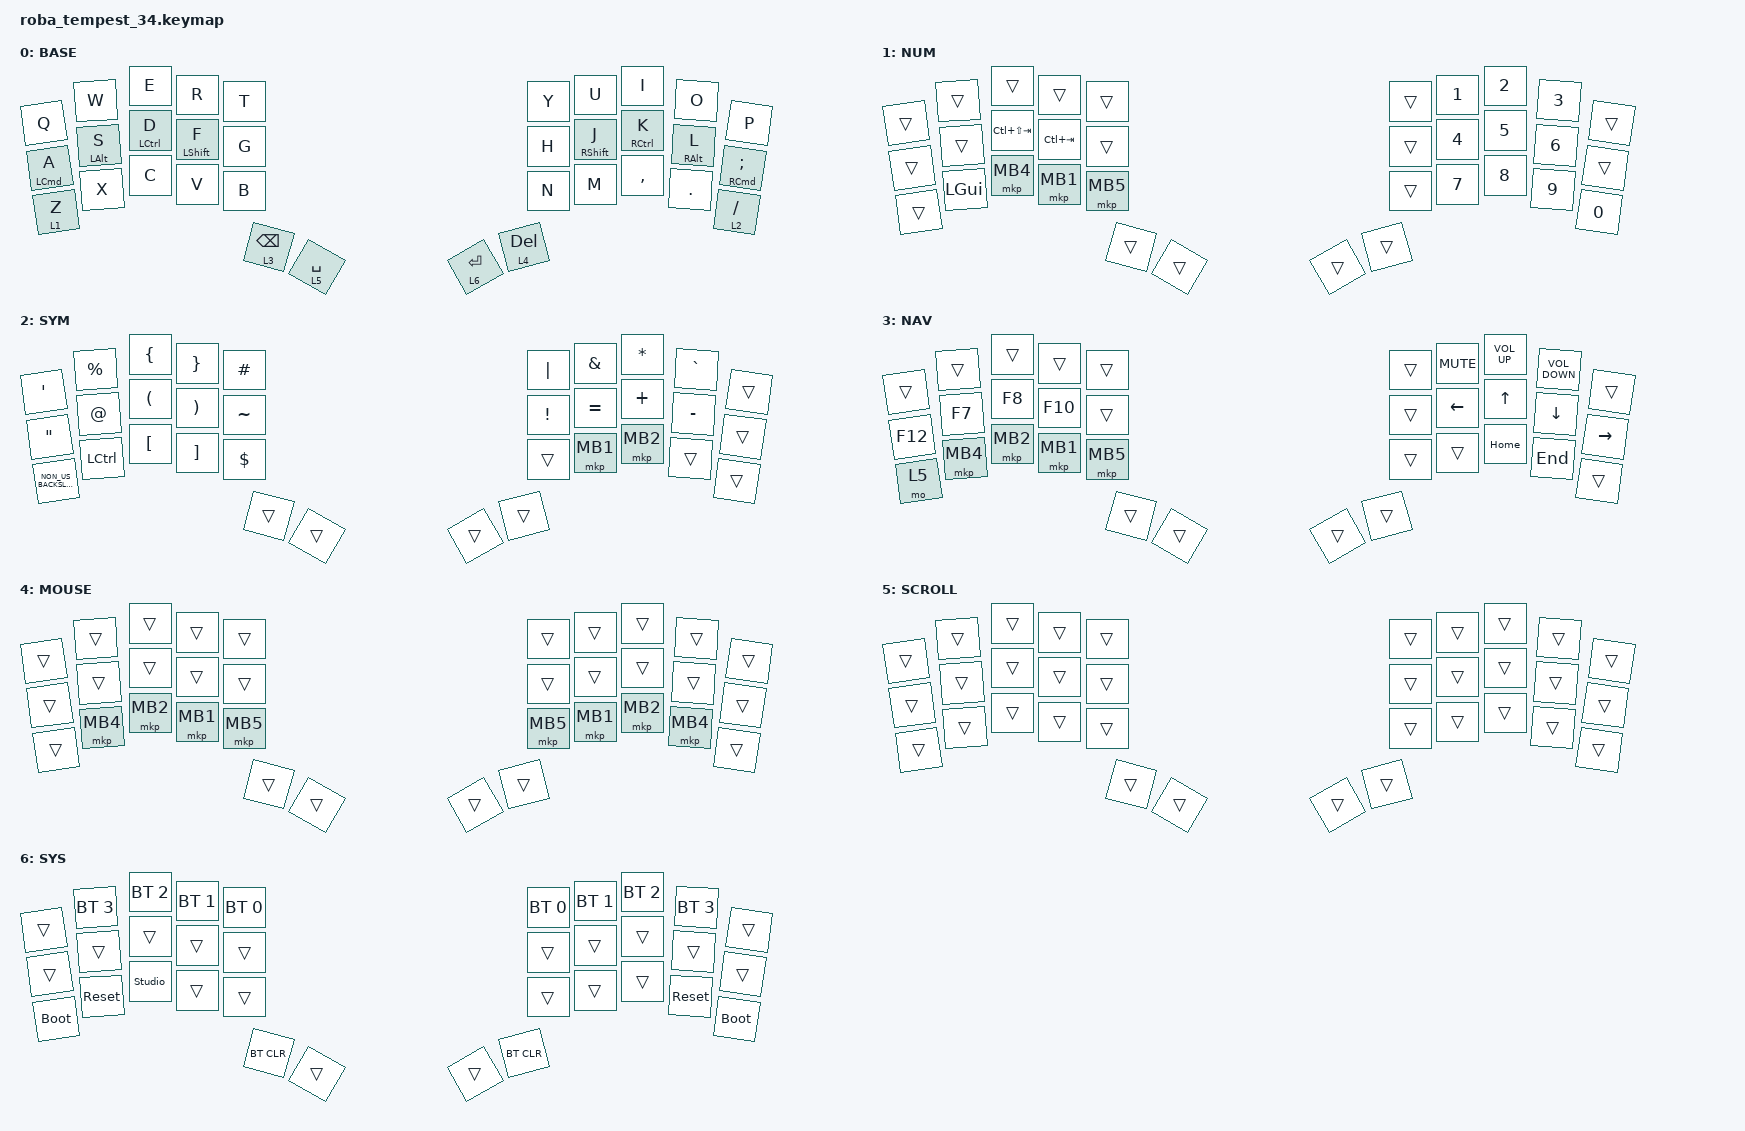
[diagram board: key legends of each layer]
// 34-key adaptation. Original roBa keymap is retained separately as roBa.keymap.
#include <behaviors.dtsi>
#include <dt-bindings/zmk/bt.h>
#include <dt-bindings/zmk/keys.h>
#include <dt-bindings/zmk/pointing.h>
#define KEYS_L 0 1 2 3 4 10 11 12 13 14 20 21 22 23 24
#define KEYS_R 5 6 7 8 9 15 16 17 18 19 25 26 27 28 29
#define THUMBS 30 31 32 33
/ {
    behaviors {
        ht_left: left_homerow {
            compatible = "zmk,behavior-hold-tap";
            #binding-cells = <2>;
            flavor = "tap-preferred";
            tapping-term-ms = <200>;
            quick-tap-ms = <160>;
            require-prior-idle-ms = <150>;
            bindings = <&kp>, <&kp>;
            hold-trigger-key-positions = <KEYS_R THUMBS>;
            hold-trigger-on-release;
        };
        ht_right: right_homerow {
            compatible = "zmk,behavior-hold-tap";
            #binding-cells = <2>;
            flavor = "tap-preferred";
            tapping-term-ms = <200>;
            quick-tap-ms = <160>;
            require-prior-idle-ms = <150>;
            bindings = <&kp>, <&kp>;
            hold-trigger-key-positions = <KEYS_L THUMBS>;
            hold-trigger-on-release;
        };
    };
    combos {
        compatible = "zmk,combos";
        tab { bindings = <&kp TAB>; key-positions = <11 12>; };
        shift_tab { bindings = <&kp LS(TAB)>; key-positions = <12 13>; };
        esc { bindings = <&kp ESC>; key-positions = <6 7>; timeout-ms = <50>; };
    };
    keymap {
        compatible = "zmk,keymap";
        BASE {
            bindings = <
                &kp Q  &kp W  &kp E  &kp R  &kp T  &kp Y  &kp U  &kp I  &kp O  &kp P
                &ht_left LCMD A  &ht_left LEFT_ALT S  &ht_left LCTRL D  &ht_left LSHFT F  &kp G  &kp H  &ht_right RSHFT J  &ht_right RCTRL K  &ht_right RALT L  &ht_right RCMD SEMICOLON
                &lt 1 Z  &kp X  &kp C  &kp V  &kp B  &kp N  &kp M  &kp COMMA  &kp DOT  &lt 2 SLASH
                &lt 3 BACKSPACE  &lt 5 SPACE  &lt 6 ENTER  &lt 4 DELETE
            >;
        };
        NUM {
            bindings = <
                &trans  &trans  &trans  &trans  &trans  &trans  &kp N1  &kp N2  &kp N3  &trans
                &trans  &trans  &kp LC(LS(TAB))  &kp LC(TAB)  &trans  &trans  &kp N4  &kp N5  &kp N6  &trans
                &trans  &kp LGUI  &mkp MB4  &mkp MB1  &mkp MB5  &trans  &kp N7  &kp N8  &kp N9  &kp N0
                &trans  &trans  &trans  &trans
            >;
        };
        SYM {
            bindings = <
                &kp SQT  &kp PERCENT  &kp LEFT_BRACE  &kp RIGHT_BRACE  &kp HASH  &kp PIPE  &kp AMPERSAND  &kp ASTERISK  &kp GRAVE  &trans
                &kp DQT  &kp AT_SIGN  &kp LEFT_PARENTHESIS  &kp RIGHT_PARENTHESIS  &kp TILDE  &kp EXCLAMATION  &kp EQUAL  &kp PLUS  &kp MINUS  &trans
                &kp NON_US_BACKSLASH  &kp LCTRL  &kp LEFT_BRACKET  &kp RIGHT_BRACKET  &kp DOLLAR  &trans  &mkp MB1  &mkp MB2  &trans  &trans
                &trans  &trans  &trans  &trans
            >;
        };
        NAV {
            bindings = <
                &trans  &trans  &trans  &trans  &trans  &trans  &kp C_MUTE  &kp C_VOLUME_UP  &kp C_VOLUME_DOWN  &trans
                &kp F12  &kp F7  &kp F8  &kp F10  &trans  &trans  &kp LEFT  &kp UP  &kp DOWN  &kp RIGHT
                &mo 5  &mkp MB4  &mkp MB2  &mkp MB1  &mkp MB5  &trans  &trans  &kp HOME  &kp END  &trans
                &trans  &trans  &trans  &trans
            >;
        };
        MOUSE {
            bindings = <
                &trans  &trans  &trans  &trans  &trans  &trans  &trans  &trans  &trans  &trans
                &trans  &trans  &trans  &trans  &trans  &trans  &trans  &trans  &trans  &trans
                &trans  &mkp MB4  &mkp MB2  &mkp MB1  &mkp MB5  &mkp MB5  &mkp MB1  &mkp MB2  &mkp MB4  &trans
                &trans  &trans  &trans  &trans
            >;
        };
        SCROLL {
            bindings = <
                &trans  &trans  &trans  &trans  &trans  &trans  &trans  &trans  &trans  &trans
                &trans  &trans  &trans  &trans  &trans  &trans  &trans  &trans  &trans  &trans
                &trans  &trans  &trans  &trans  &trans  &trans  &trans  &trans  &trans  &trans
                &trans  &trans  &trans  &trans
            >;
        };
        SYS {
            bindings = <
                &trans  &bt BT_SEL 3  &bt BT_SEL 2  &bt BT_SEL 1  &bt BT_SEL 0  &bt BT_SEL 0  &bt BT_SEL 1  &bt BT_SEL 2  &bt BT_SEL 3  &trans
                &trans  &trans  &trans  &trans  &trans  &trans  &trans  &trans  &trans  &trans
                &bootloader  &sys_reset  &studio_unlock  &trans  &trans  &trans  &trans  &trans  &sys_reset  &bootloader
                &bt BT_CLR  &trans  &trans  &bt BT_CLR
            >;
        };
    };
};
